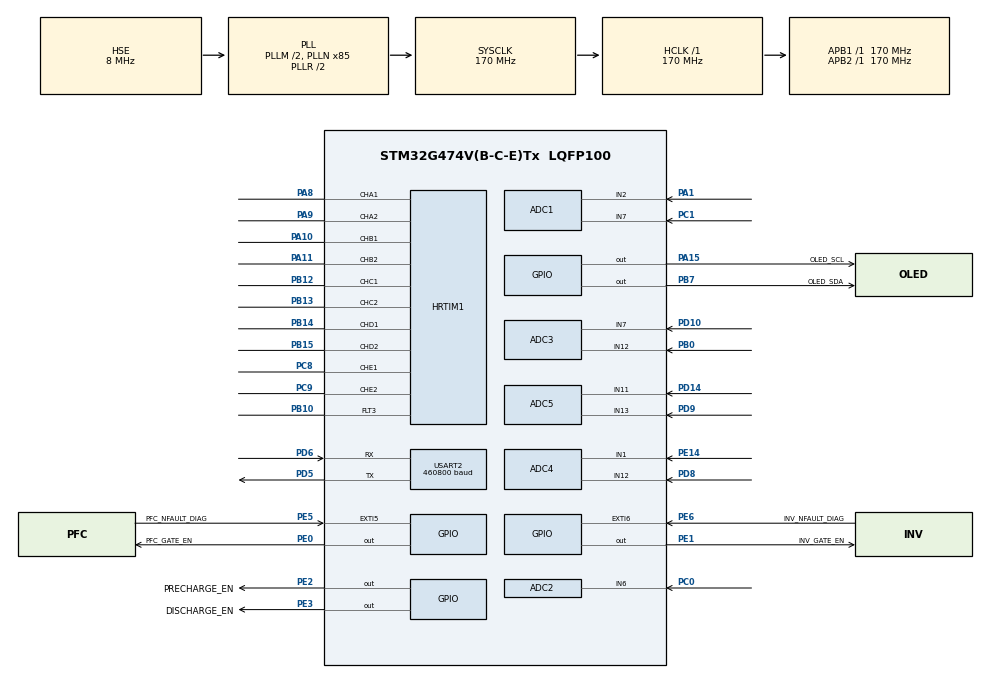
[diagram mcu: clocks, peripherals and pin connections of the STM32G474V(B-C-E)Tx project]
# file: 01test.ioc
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ADC1.Channel-0\#ChannelRegularConversion=ADC_CHANNEL_2
ADC1.Channel-1\#ChannelRegularConversion=ADC_CHANNEL_7
ADC1.ClockPrescaler=ADC_CLOCK_ASYNC_DIV4
ADC1.DMAContinuousRequests=ENABLE
ADC1.EOCSelection=ADC_EOC_SEQ_CONV
ADC1.ExternalTrigConv=ADC_EXTERNALTRIG_HRTIM_TRG1
ADC1.NbrOfConversion=2
ADC1.NbrOfConversionFlag=1
ADC1.OffsetNumber-0\#ChannelRegularConversion=ADC_OFFSET_NONE
ADC1.OffsetNumber-1\#ChannelRegularConversion=ADC_OFFSET_NONE
ADC1.Overrun=ADC_OVR_DATA_OVERWRITTEN
ADC1.Rank-0\#ChannelRegularConversion=1
ADC1.Rank-1\#ChannelRegularConversion=2
ADC1.SamplingTime-0\#ChannelRegularConversion=ADC_SAMPLETIME_24CYCLES_5
ADC1.SamplingTime-1\#ChannelRegularConversion=ADC_SAMPLETIME_24CYCLES_5
ADC1.master=1
ADC2.Channel-0\#ChannelRegularConversion=ADC_CHANNEL_6
ADC2.ClockPrescaler=ADC_CLOCK_ASYNC_DIV4
ADC2.DMAContinuousRequests=ENABLE
ADC2.EOCSelection=ADC_EOC_SEQ_CONV
ADC2.ExternalTrigConv=ADC_EXTERNALTRIG_HRTIM_TRG1
ADC2.NbrOfConversion=1
ADC2.NbrOfConversionFlag=1
ADC2.OffsetNumber-0\#ChannelRegularConversion=ADC_OFFSET_NONE
ADC2.Overrun=ADC_OVR_DATA_OVERWRITTEN
ADC2.Rank-0\#ChannelRegularConversion=1
ADC2.SamplingTime-0\#ChannelRegularConversion=ADC_SAMPLETIME_24CYCLES_5
ADC3.Channel-0\#ChannelRegularConversion=ADC_CHANNEL_12
ADC3.Channel-2\#ChannelRegularConversion=ADC_CHANNEL_7
ADC3.ClockPrescaler=ADC_CLOCK_ASYNC_DIV4
ADC3.DMAContinuousRequests=ENABLE
ADC3.EOCSelection=ADC_EOC_SEQ_CONV
ADC3.ExternalTrigConv=ADC_EXTERNALTRIG_HRTIM_TRG2
ADC3.NbrOfConversion=2
ADC3.NbrOfConversionFlag=1
ADC3.OffsetNumber-2\#ChannelRegularConversion=ADC_OFFSET_NONE
ADC3.Overrun=ADC_OVR_DATA_OVERWRITTEN
ADC3.Rank-2\#ChannelRegularConversion=2
ADC3.SamplingTime-0\#ChannelRegularConversion=ADC_SAMPLETIME_24CYCLES_5
ADC3.SamplingTime-2\#ChannelRegularConversion=ADC_SAMPLETIME_24CYCLES_5
ADC3.master=1
ADC4.Channel-0\#ChannelRegularConversion=ADC_CHANNEL_12
ADC4.Channel-1\#ChannelRegularConversion=ADC_CHANNEL_1
ADC4.ClockPrescaler=ADC_CLOCK_ASYNC_DIV4
ADC4.DMAContinuousRequests=ENABLE
ADC4.EOCSelection=ADC_EOC_SEQ_CONV
ADC4.ExternalTrigConv=ADC_EXTERNALTRIG_HRTIM_TRG2
ADC4.NbrOfConversion=2
ADC4.NbrOfConversionFlag=1
ADC4.OffsetNumber-0\#ChannelRegularConversion=ADC_OFFSET_NONE
ADC4.OffsetNumber-1\#ChannelRegularConversion=ADC_OFFSET_NONE
ADC4.Overrun=ADC_OVR_DATA_OVERWRITTEN
ADC4.Rank-0\#ChannelRegularConversion=1
ADC4.Rank-1\#ChannelRegularConversion=2
ADC4.SamplingTime-0\#ChannelRegularConversion=ADC_SAMPLETIME_24CYCLES_5
ADC4.SamplingTime-1\#ChannelRegularConversion=ADC_SAMPLETIME_24CYCLES_5
ADC5.Channel-0\#ChannelRegularConversion=ADC_CHANNEL_13
ADC5.Channel-1\#ChannelRegularConversion=ADC_CHANNEL_11
ADC5.ClockPrescaler=ADC_CLOCK_ASYNC_DIV4
ADC5.DMAContinuousRequests=ENABLE
ADC5.EOCSelection=ADC_EOC_SEQ_CONV
ADC5.ExternalTrigConv=ADC_EXTERNALTRIG_HRTIM_TRG2
ADC5.NbrOfConversion=2
ADC5.NbrOfConversionFlag=1
ADC5.OffsetNumber-0\#ChannelRegularConversion=ADC_OFFSET_NONE
ADC5.OffsetNumber-1\#ChannelRegularConversion=ADC_OFFSET_NONE
ADC5.Overrun=ADC_OVR_DATA_OVERWRITTEN
ADC5.Rank-0\#ChannelRegularConversion=1
ADC5.Rank-1\#ChannelRegularConversion=2
ADC5.SamplingTime-0\#ChannelRegularConversion=ADC_SAMPLETIME_24CYCLES_5
ADC5.SamplingTime-1\#ChannelRegularConversion=ADC_SAMPLETIME_24CYCLES_5
Dma.ADC1.0.Direction=DMA_PERIPH_TO_MEMORY
Dma.ADC1.0.EventEnable=DISABLE
Dma.ADC1.0.Instance=DMA1_Channel1
Dma.ADC1.0.MemDataAlignment=DMA_MDATAALIGN_HALFWORD
Dma.ADC1.0.MemInc=DMA_MINC_ENABLE
Dma.ADC1.0.Mode=DMA_CIRCULAR
Dma.ADC1.0.PeriphDataAlignment=DMA_PDATAALIGN_HALFWORD
Dma.ADC1.0.PeriphInc=DMA_PINC_DISABLE
Dma.ADC1.0.Polarity=HAL_DMAMUX_REQ_GEN_RISING
Dma.ADC1.0.Priority=DMA_PRIORITY_HIGH
Dma.ADC1.0.RequestNumber=1
Dma.ADC1.0.SignalID=NONE
Dma.ADC1.0.SyncEnable=DISABLE
Dma.ADC1.0.SyncPolarity=HAL_DMAMUX_SYNC_NO_EVENT
Dma.ADC1.0.SyncRequestNumber=1
Dma.ADC1.0.SyncSignalID=NONE
Dma.ADC2.1.Direction=DMA_PERIPH_TO_MEMORY
Dma.ADC2.1.EventEnable=DISABLE
Dma.ADC2.1.Instance=DMA1_Channel2
Dma.ADC2.1.MemDataAlignment=DMA_MDATAALIGN_HALFWORD
Dma.ADC2.1.MemInc=DMA_MINC_ENABLE
Dma.ADC2.1.Mode=DMA_CIRCULAR
Dma.ADC2.1.PeriphDataAlignment=DMA_PDATAALIGN_HALFWORD
Dma.ADC2.1.PeriphInc=DMA_PINC_DISABLE
Dma.ADC2.1.Polarity=HAL_DMAMUX_REQ_GEN_RISING
Dma.ADC2.1.Priority=DMA_PRIORITY_HIGH
Dma.ADC2.1.RequestNumber=1
Dma.ADC2.1.SignalID=NONE
Dma.ADC2.1.SyncEnable=DISABLE
Dma.ADC2.1.SyncPolarity=HAL_DMAMUX_SYNC_NO_EVENT
Dma.ADC2.1.SyncRequestNumber=1
Dma.ADC2.1.SyncSignalID=NONE
Dma.ADC3.4.Direction=DMA_PERIPH_TO_MEMORY
Dma.ADC3.4.EventEnable=DISABLE
Dma.ADC3.4.Instance=DMA2_Channel1
Dma.ADC3.4.MemDataAlignment=DMA_MDATAALIGN_HALFWORD
Dma.ADC3.4.MemInc=DMA_MINC_ENABLE
Dma.ADC3.4.Mode=DMA_CIRCULAR
Dma.ADC3.4.PeriphDataAlignment=DMA_PDATAALIGN_HALFWORD
Dma.ADC3.4.PeriphInc=DMA_PINC_DISABLE
Dma.ADC3.4.Polarity=HAL_DMAMUX_REQ_GEN_RISING
Dma.ADC3.4.Priority=DMA_PRIORITY_HIGH
Dma.ADC3.4.RequestNumber=1
Dma.ADC3.4.SignalID=NONE
Dma.ADC3.4.SyncEnable=DISABLE
Dma.ADC3.4.SyncPolarity=HAL_DMAMUX_SYNC_NO_EVENT
Dma.ADC3.4.SyncRequestNumber=1
Dma.ADC3.4.SyncSignalID=NONE
Dma.ADC4.2.Direction=DMA_PERIPH_TO_MEMORY
Dma.ADC4.2.EventEnable=DISABLE
Dma.ADC4.2.Instance=DMA2_Channel2
Dma.ADC4.2.MemDataAlignment=DMA_MDATAALIGN_HALFWORD
Dma.ADC4.2.MemInc=DMA_MINC_ENABLE
Dma.ADC4.2.Mode=DMA_CIRCULAR
Dma.ADC4.2.PeriphDataAlignment=DMA_PDATAALIGN_HALFWORD
Dma.ADC4.2.PeriphInc=DMA_PINC_DISABLE
Dma.ADC4.2.Polarity=HAL_DMAMUX_REQ_GEN_RISING
Dma.ADC4.2.Priority=DMA_PRIORITY_HIGH
Dma.ADC4.2.RequestNumber=1
Dma.ADC4.2.SignalID=NONE
Dma.ADC4.2.SyncEnable=DISABLE
Dma.ADC4.2.SyncPolarity=HAL_DMAMUX_SYNC_NO_EVENT
Dma.ADC4.2.SyncRequestNumber=1
Dma.ADC4.2.SyncSignalID=NONE
Dma.ADC5.3.Direction=DMA_PERIPH_TO_MEMORY
Dma.ADC5.3.EventEnable=DISABLE
Dma.ADC5.3.Instance=DMA2_Channel3
Dma.ADC5.3.MemDataAlignment=DMA_MDATAALIGN_HALFWORD
Dma.ADC5.3.MemInc=DMA_MINC_ENABLE
Dma.ADC5.3.Mode=DMA_CIRCULAR
Dma.ADC5.3.PeriphDataAlignment=DMA_PDATAALIGN_HALFWORD
Dma.ADC5.3.PeriphInc=DMA_PINC_DISABLE
Dma.ADC5.3.Polarity=HAL_DMAMUX_REQ_GEN_RISING
Dma.ADC5.3.Priority=DMA_PRIORITY_HIGH
Dma.ADC5.3.RequestNumber=1
Dma.ADC5.3.SignalID=NONE
Dma.ADC5.3.SyncEnable=DISABLE
Dma.ADC5.3.SyncPolarity=HAL_DMAMUX_SYNC_NO_EVENT
Dma.ADC5.3.SyncRequestNumber=1
Dma.ADC5.3.SyncSignalID=NONE
Dma.Request0=ADC1
Dma.Request1=ADC2
Dma.Request2=ADC4
Dma.Request3=ADC5
Dma.Request4=ADC3
HRTIM1.ADCTrigger1_Source1=HRTIM_ADCTRIGGEREVENT13_MASTER_CMP2
HRTIM1.ADCTrigger2_Source1=HRTIM_ADCTRIGGEREVENT24_MASTER_CMP2
HRTIM1.ADCTrigger_Id1=HRTIM_ADCTRIGGER_1
HRTIM1.ADCTrigger_Id2=HRTIM_ADCTRIGGER_2
HRTIM1.BlankingSourceFaultLine3=__NULL
HRTIM1.Bmrom_TA=HRTIM_TIM_BMROM_BOTH
HRTIM1.Bmrom_TB=HRTIM_TIM_BMROM_BOTH
HRTIM1.Bmrom_TC=HRTIM_TIM_BMROM_BOTH
HRTIM1.Bmrom_TD=HRTIM_TIM_BMROM_BOTH
HRTIM1.Bmrom_TE=HRTIM_TIM_BMROM_BOTH
HRTIM1.CompareUnit1-MasterTimer=__NULL
HRTIM1.CompareUnit1-Output_TA1TA2=HRTIM_COMPAREUNIT_1
HRTIM1.CompareUnit1-Output_TB1TB2=HRTIM_COMPAREUNIT_1
HRTIM1.CompareUnit1-Output_TC1TC2=HRTIM_COMPAREUNIT_1
HRTIM1.CompareUnit1-Output_TD1TD2=HRTIM_COMPAREUNIT_1
HRTIM1.CompareUnit1-Output_TE1TE2=HRTIM_COMPAREUNIT_1
HRTIM1.CompareUnit2-MasterTimer=HRTIM_COMPAREUNIT_2
HRTIM1.CompareValue1-Output_TA1TA2=17000
HRTIM1.CompareValue1-Output_TB1TB2=17000
HRTIM1.CompareValue1-Output_TC1TC2=17000
HRTIM1.CompareValue1-Output_TD1TD2=17000
HRTIM1.CompareValue1-Output_TE1TE2=17000
HRTIM1.CompareValue2-MasterTimer=17000
HRTIM1.DeadTimeInsertion-Output_TA1TA2=HRTIM_TIMDEADTIMEINSERTION_ENABLED
HRTIM1.DeadTimeInsertion-Output_TB1TB2=HRTIM_TIMDEADTIMEINSERTION_ENABLED
HRTIM1.DeadTimeInsertion-Output_TC1TC2=HRTIM_TIMDEADTIMEINSERTION_ENABLED
HRTIM1.DeadTimeInsertion-Output_TD1TD2=HRTIM_TIMDEADTIMEINSERTION_ENABLED
HRTIM1.DeadTimeInsertion-Output_TE1TE2=HRTIM_TIMDEADTIMEINSERTION_ENABLED
HRTIM1.FallingValue-Output_TA1TA2=85
HRTIM1.FallingValue-Output_TB1TB2=85
HRTIM1.FallingValue-Output_TC1TC2=85
HRTIM1.FallingValue-Output_TD1TD2=85
HRTIM1.FallingValue-Output_TE1TE2=85
HRTIM1.FaultEnable_Source1-Output_TA1TA2=HRTIM_TIMFAULTENABLE_FAULT3
HRTIM1.FaultEnable_Source1-Output_TB1TB2=HRTIM_TIMFAULTENABLE_FAULT3
HRTIM1.FaultEnable_Source1-Output_TC1TC2=HRTIM_TIMFAULTENABLE_FAULT3
HRTIM1.FaultEnable_Source1-Output_TD1TD2=HRTIM_TIMFAULTENABLE_FAULT3
HRTIM1.FaultEnable_Source1-Output_TE1TE2=HRTIM_TIMFAULTENABLE_FAULT3
HRTIM1.FaultLevel1-Output_TA1TA2=HRTIM_OUTPUTFAULTLEVEL_INACTIVE
HRTIM1.FaultLevel1-Output_TB1TB2=HRTIM_OUTPUTFAULTLEVEL_INACTIVE
HRTIM1.FaultLevel1-Output_TC1TC2=HRTIM_OUTPUTFAULTLEVEL_INACTIVE
HRTIM1.FaultLevel1-Output_TD1TD2=HRTIM_OUTPUTFAULTLEVEL_INACTIVE
HRTIM1.FaultLevel1-Output_TE1TE2=HRTIM_OUTPUTFAULTLEVEL_INACTIVE
HRTIM1.FaultLevel2-Output_TA1TA2=HRTIM_OUTPUTFAULTLEVEL_INACTIVE
HRTIM1.FaultLevel2-Output_TB1TB2=HRTIM_OUTPUTFAULTLEVEL_INACTIVE
HRTIM1.FaultLevel2-Output_TC1TC2=HRTIM_OUTPUTFAULTLEVEL_INACTIVE
HRTIM1.FaultLevel2-Output_TD1TD2=HRTIM_OUTPUTFAULTLEVEL_INACTIVE
HRTIM1.FaultLevel2-Output_TE1TE2=HRTIM_OUTPUTFAULTLEVEL_INACTIVE
HRTIM1.Fault_Line3=HRTIM_FAULT_3
HRTIM1.Ferom_TA=HRTIM_TIM_FEROM_BOTH
HRTIM1.Ferom_TB=HRTIM_TIM_FEROM_BOTH
HRTIM1.Ferom_TC=HRTIM_TIM_FEROM_BOTH
HRTIM1.Ferom_TD=HRTIM_TIM_FEROM_BOTH
HRTIM1.Ferom_TE=HRTIM_TIM_FEROM_BOTH
HRTIM1.HRTIMInterruptResquests1=HRTIM_IT_FLT3
HRTIM1.NumberADCTriggerSource1=1
HRTIM1.NumberADCTriggerSource2=1
HRTIM1.NumberFaultEnable-Output_TA1TA2=1
HRTIM1.NumberFaultEnable-Output_TB1TB2=1
HRTIM1.NumberFaultEnable-Output_TC1TC2=1
HRTIM1.NumberFaultEnable-Output_TD1TD2=1
HRTIM1.NumberFaultEnable-Output_TE1TE2=1
HRTIM1.NumberResetSource1-Output_TA1TA2=1
HRTIM1.NumberResetSource1-Output_TB1TB2=1
HRTIM1.NumberResetSource1-Output_TC1TC2=1
HRTIM1.NumberResetSource1-Output_TD1TD2=1
HRTIM1.NumberResetSource1-Output_TE1TE2=1
HRTIM1.NumberSetSource1-Output_TA1TA2=1
HRTIM1.NumberSetSource1-Output_TB1TB2=1
HRTIM1.NumberSetSource1-Output_TC1TC2=1
HRTIM1.NumberSetSource1-Output_TD1TD2=1
HRTIM1.NumberSetSource1-Output_TE1TE2=1
HRTIM1.NumberUpdateTrigger-Output_TA1TA2=0
HRTIM1.Outrom_TA=HRTIM_TIM_OUTROM_VALLEY
HRTIM1.Outrom_TB=HRTIM_TIM_OUTROM_VALLEY
HRTIM1.Outrom_TC=HRTIM_TIM_OUTROM_VALLEY
HRTIM1.Outrom_TD=HRTIM_TIM_OUTROM_VALLEY
HRTIM1.Outrom_TE=HRTIM_TIM_OUTROM_VALLEY
HRTIM1.Periode_MASTER=34000
HRTIM1.Periode_TA=34000
HRTIM1.Periode_TB=34000
HRTIM1.Periode_TC=34000
HRTIM1.Periode_TD=34000
HRTIM1.Periode_TE=34000
HRTIM1.Polarity_FaultLine3=HRTIM_FAULTPOLARITY_LOW
HRTIM1.PreloadEnable-Output_TA1TA2=HRTIM_PRELOAD_ENABLED
HRTIM1.PreloadEnable-Output_TB1TB2=HRTIM_PRELOAD_ENABLED
HRTIM1.PreloadEnable-Output_TC1TC2=HRTIM_PRELOAD_ENABLED
HRTIM1.PreloadEnable-Output_TD1TD2=HRTIM_PRELOAD_ENABLED
HRTIM1.PreloadEnable-Output_TE1TE2=HRTIM_PRELOAD_ENABLED
HRTIM1.PrescalerDead-Output_TA1TA2=HRTIM_TIMDEADTIME_PRESCALERRATIO_DIV1
HRTIM1.PrescalerDead-Output_TB1TB2=HRTIM_TIMDEADTIME_PRESCALERRATIO_DIV1
HRTIM1.PrescalerDead-Output_TC1TC2=HRTIM_TIMDEADTIME_PRESCALERRATIO_DIV1
HRTIM1.PrescalerDead-Output_TD1TD2=HRTIM_TIMDEADTIME_PRESCALERRATIO_DIV1
HRTIM1.PrescalerDead-Output_TE1TE2=HRTIM_TIMDEADTIME_PRESCALERRATIO_DIV1
HRTIM1.PrescalerRatio_MASTER=HRTIM_PRESCALERRATIO_MUL2
HRTIM1.PrescalerRatio_TA=HRTIM_PRESCALERRATIO_MUL4
HRTIM1.PrescalerRatio_TB=HRTIM_PRESCALERRATIO_MUL4
HRTIM1.PrescalerRatio_TC=HRTIM_PRESCALERRATIO_MUL4
HRTIM1.PrescalerRatio_TD=HRTIM_PRESCALERRATIO_MUL4
HRTIM1.PrescalerRatio_TE=HRTIM_PRESCALERRATIO_MUL4
HRTIM1.RepetitionCounter-MasterTimer=0
HRTIM1.RepetitionCounter-Output_TA1TA2=0
HRTIM1.RepetitionCounter-Output_TB1TB2=0
HRTIM1.RepetitionCounter-Output_TC1TC2=0
HRTIM1.RepetitionCounter-Output_TD1TD2=0
HRTIM1.RepetitionCounter-Output_TE1TE2=0
HRTIM1.RepetitionUpdate-Output_TA1TA2=HRTIM_UPDATEONREPETITION_ENABLED
HRTIM1.RepetitionUpdate-Output_TB1TB2=HRTIM_UPDATEONREPETITION_ENABLED
HRTIM1.RepetitionUpdate-Output_TC1TC2=HRTIM_UPDATEONREPETITION_ENABLED
HRTIM1.RepetitionUpdate-Output_TD1TD2=HRTIM_UPDATEONREPETITION_ENABLED
HRTIM1.RepetitionUpdate-Output_TE1TE2=HRTIM_UPDATEONREPETITION_ENABLED
HRTIM1.ResetOutput1_Source1-Output_TA1TA2=HRTIM_OUTPUTRESET_TIMCMP1
HRTIM1.ResetOutput1_Source1-Output_TB1TB2=HRTIM_OUTPUTRESET_TIMCMP1
HRTIM1.ResetOutput1_Source1-Output_TC1TC2=HRTIM_OUTPUTRESET_TIMCMP1
HRTIM1.ResetOutput1_Source1-Output_TD1TD2=HRTIM_OUTPUTRESET_TIMCMP1
HRTIM1.ResetOutput1_Source1-Output_TE1TE2=HRTIM_OUTPUTRESET_TIMCMP1
HRTIM1.RisingValue-Output_TA1TA2=85
HRTIM1.RisingValue-Output_TB1TB2=85
HRTIM1.RisingValue-Output_TC1TC2=85
HRTIM1.RisingValue-Output_TD1TD2=85
HRTIM1.RisingValue-Output_TE1TE2=85
HRTIM1.SetOutput1_Source1-Output_TA1TA2=HRTIM_OUTPUTSET_TIMCMP1
HRTIM1.SetOutput1_Source1-Output_TB1TB2=HRTIM_OUTPUTSET_TIMCMP1
HRTIM1.SetOutput1_Source1-Output_TC1TC2=HRTIM_OUTPUTSET_TIMCMP1
HRTIM1.SetOutput1_Source1-Output_TD1TD2=HRTIM_OUTPUTSET_TIMCMP1
HRTIM1.SetOutput1_Source1-Output_TE1TE2=HRTIM_OUTPUTSET_TIMCMP1
HRTIM1.UpDownMode-Output_TA1TA2=HRTIM_TIMERUPDOWNMODE_UPDOWN
HRTIM1.UpDownMode-Output_TB1TB2=HRTIM_TIMERUPDOWNMODE_UPDOWN
HRTIM1.UpDownMode-Output_TC1TC2=HRTIM_TIMERUPDOWNMODE_UPDOWN
HRTIM1.UpDownMode-Output_TD1TD2=HRTIM_TIMERUPDOWNMODE_UPDOWN
HRTIM1.UpDownMode-Output_TE1TE2=HRTIM_TIMERUPDOWNMODE_UPDOWN
HRTIM1.postscaler1=0
HRTIM1.postscaler2=0
HRTIM1.rom_TA=HRTIM_TIM_ROM_VALLEY
HRTIM1.rom_TB=HRTIM_TIM_ROM_VALLEY
HRTIM1.rom_TC=HRTIM_TIM_ROM_VALLEY
HRTIM1.rom_TD=HRTIM_TIM_ROM_VALLEY
HRTIM1.rom_TE=HRTIM_TIM_ROM_VALLEY
IWDG.Prescaler=IWDG_PRESCALER_64
IWDG.Reload=249
Mcu.Family=STM32G4
Mcu.Name=STM32G474V(B-C-E)Tx
Mcu.Package=LQFP100
NVIC.ADC1_2_IRQn=true\:1\:0\:true\:false\:true\:true\:true\:true
NVIC.ADC3_IRQn=true\:1\:0\:true\:false\:true\:true\:true\:true
NVIC.ADC4_IRQn=true\:1\:0\:true\:false\:true\:true\:true\:true
NVIC.ADC5_IRQn=true\:1\:0\:true\:false\:true\:true\:true\:true
NVIC.DMA1_Channel1_IRQn=true\:2\:0\:true\:false\:true\:false\:true\:true
NVIC.DMA1_Channel2_IRQn=true\:1\:0\:true\:false\:true\:false\:true\:true
NVIC.DMA2_Channel1_IRQn=true\:1\:0\:true\:false\:true\:false\:true\:true
NVIC.DMA2_Channel2_IRQn=true\:1\:0\:true\:false\:true\:false\:true\:true
NVIC.DMA2_Channel3_IRQn=true\:1\:0\:true\:false\:true\:false\:true\:true
NVIC.EXTI9_5_IRQn=true\:3\:0\:true\:false\:true\:true\:true\:true
NVIC.HRTIM1_FLT_IRQn=true\:0\:0\:false\:false\:true\:true\:true\:true
NVIC.PriorityGroup=NVIC_PRIORITYGROUP_4
PA1.Mode=IN2-Single-Ended
PA1.Signal=ADC1_IN2
PA10.Mode=Output_TB1TB2
PA10.Signal=HRTIM1_CHB1
PA11.Mode=Output_TB1TB2
PA11.Signal=HRTIM1_CHB2
PA13.Mode=Serial_Wire
PA13.Signal=SYS_JTMS-SWDIO
PA14.Mode=Serial_Wire
PA14.Signal=SYS_JTCK-SWCLK
PA15.GPIO_Label=OLED_SCL
PA15.GPIO_ModeDefaultOutputPP=GPIO_MODE_OUTPUT_PP
PA15.GPIO_PuPd=GPIO_NOPULL
PA15.GPIO_Speed=GPIO_SPEED_FREQ_HIGH
PA15.Signal=GPIO_Output
PA8.Mode=Output_TA1TA2
PA8.Signal=HRTIM1_CHA1
PA9.Mode=Output_TA1TA2
PA9.Signal=HRTIM1_CHA2
PB0.Mode=IN12-Single-Ended
PB0.Signal=ADC3_IN12
PB10.GPIO_PuPd=GPIO_PULLUP
PB10.Mode=Fault_Enable3
PB10.Signal=HRTIM1_FLT3
PB12.Mode=Output_TC1TC2
PB12.Signal=HRTIM1_CHC1
PB13.Mode=Output_TC1TC2
PB13.Signal=HRTIM1_CHC2
PB14.Mode=Output_TD1TD2
PB14.Signal=HRTIM1_CHD1
PB15.Mode=Output_TD1TD2
PB15.Signal=HRTIM1_CHD2
PB7.GPIO_Label=OLED_SDA
PB7.GPIO_ModeDefaultOutputPP=GPIO_MODE_OUTPUT_OD
PB7.GPIO_PuPd=GPIO_NOPULL
PB7.GPIO_Speed=GPIO_SPEED_FREQ_HIGH
PB7.Signal=GPIO_Output
PC0.Mode=IN6-Single-Ended
PC0.Signal=ADC2_IN6
PC1.Mode=IN7-Single-Ended
PC1.Signal=ADC1_IN7
PC8.Mode=Output_TE1TE2
PC8.Signal=HRTIM1_CHE1
PC9.Mode=Output_TE1TE2
PC9.Signal=HRTIM1_CHE2
PD10.Mode=IN7-Single-Ended
PD10.Signal=ADC3_IN7
PD14.Mode=IN11-Single-Ended
PD14.Signal=ADC5_IN11
PD5.Mode=Asynchronous
PD5.Signal=USART2_TX
PD6.Mode=Asynchronous
PD6.Signal=USART2_RX
PD8.Mode=IN12-Single-Ended
PD8.Signal=ADC4_IN12
PD9.Mode=IN13-Single-Ended
PD9.Signal=ADC5_IN13
PE0.GPIO_Label=PFC_GATE_EN
PE0.GPIO_PuPd=GPIO_NOPULL
PE0.Signal=GPIO_Output
PE1.GPIO_Label=INV_GATE_EN
PE1.Signal=GPIO_Output
PE14.Mode=IN1-Single-Ended
PE14.Signal=ADC4_IN1
PE2.GPIO_Label=PRECHARGE_EN
PE2.Signal=GPIO_Output
PE3.GPIO_Label=DISCHARGE_EN
PE3.Signal=GPIO_Output
PE5.GPIO_Label=PFC_NFAULT_DIAG
PE5.GPIO_ModeDefaultEXTI=GPIO_MODE_IT_FALLING
PE5.GPIO_PuPd=GPIO_PULLUP
PE5.Signal=GPXTI5
PE6.GPIO_Label=INV_NFAULT_DIAG
PE6.GPIO_ModeDefaultEXTI=GPIO_MODE_IT_FALLING
PE6.GPIO_PuPd=GPIO_PULLUP
PE6.Signal=GPXTI6
PF0-OSC_IN.Mode=HSE-External-Oscillator
PF0-OSC_IN.Signal=RCC_OSC_IN
PF1-OSC_OUT.Mode=HSE-External-Oscillator
PF1-OSC_OUT.Signal=RCC_OSC_OUT
ProjectManager.HeapSize=0x200
ProjectManager.StackSize=0x400
ProjectManager.TargetToolchain=MDK-ARM V5.32
RCC.ADC12Freq_Value=170000000
RCC.ADC345Freq_Value=170000000
RCC.AHBFreq_Value=170000000
RCC.APB1Freq_Value=170000000
RCC.APB1TimFreq_Value=170000000
RCC.APB2Freq_Value=170000000
RCC.APB2TimFreq_Value=170000000
RCC.CortexFreq_Value=170000000
RCC.EXTERNAL_CLOCK_VALUE=12288000
RCC.EnbaleCSS=true
RCC.HCLKFreq_Value=170000000
RCC.HSE_VALUE=8000000
RCC.HSI48_VALUE=48000000
RCC.HSI_VALUE=16000000
RCC.LSE_VALUE=32768
RCC.PLLM=RCC_PLLM_DIV2
RCC.PLLN=85
RCC.PLLSourceVirtual=RCC_PLLSOURCE_HSE
RCC.SYSCLKFreq_VALUE=170000000
RCC.SYSCLKSource=RCC_SYSCLKSOURCE_PLLCLK
RCC.USBFreq_Value=170000000
RCC.VCOOutputFreq_Value=340000000
USART2.BaudRate=460800
USART2.VirtualMode-Asynchronous=VM_ASYNC
VP_HRTIM1_VS_hrtimMasterTimerNoOutput.Mode=MasterTimer
VP_IWDG_VS_IWDG.Mode=IWDG_Activate
VP_SYS_VS_DBSignals.Mode=DisableDeadBatterySignals
board=custom

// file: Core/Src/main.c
/* USER CODE BEGIN Header */
/**
  ******************************************************************************
  * @file           : main.c
  * @brief          : Main program body
  ******************************************************************************
  * @attention
  *
  * Copyright (c) 2026 STMicroelectronics.
  * All rights reserved.
  *
  * This software is licensed under terms that can be found in the LICENSE file
  * in the root directory of this software component.
  * If no LICENSE file comes with this software, it is provided AS-IS.
  *
  ******************************************************************************
  */
/* USER CODE END Header */
#include "main.h"
#include "adc.h"
#include "dma.h"
#include "hrtim.h"
#include "usart.h"
#include "gpio.h"

/* USER CODE BEGIN Includes */
#include "OLED.h"
#include "CBSVPWM.h"
#include "inv_hrtim.h"
#include "inv_measure.h"
#include "iwdg.h"
#include "vofa.h"
/* USER CODE END Includes */

/* USER CODE BEGIN PD */

/*
 * 本文件只进行MCU侧开环逆变验证，不使能实际门极驱动器。
 * 10 kHz控制频率除以50 Hz基波频率得到每个基波周期200个控制点。
 *
 *虚拟母线电压：48 V
 *初始调制度：0.10
 *最大调制度：0.90
 *控制更新频率：10 kHz
 *正弦周期点数：200
 *输出基波频率：50 Hz
 *后台监督频率：10 Hz
 *VOFA发送频率：100 Hz
 *
 */
#define INV_TEST_VIRTUAL_DC_V          (48.0f)
#define INV_TEST_MODULATION            (0.10f)
#define INV_TEST_MODULATION_LIMIT      (0.90f)
#define INV_TEST_MINIMUM_DC_V          (1.0f)
#define INV_TEST_POINTS_PER_CYCLE      (200U)
#define INV_TEST_OFFSET_TIMEOUT_MS     (200U)
#define INV_TEST_SUPERVISOR_PERIOD_MS  (100U)
#define INV_TEST_VOFA_PERIOD_MS        (10U)
#define INV_TEST_OLED_PERIOD_MS        (100U)

/* 旋转角增量Δθ为2*pi/200；预先写入常量，避免在10 kHz中断中调用三角函数。 */
#define INV_TEST_SIN_DELTA             (0.0314107591f) //旋转角增量正弦: sin(1.8°)
#define INV_TEST_COS_DELTA             (0.9995065604f) //旋转角增量余弦: cos(1.8°)
#define INV_TEST_SQRT3_DIV2            (0.8660254038f) //√3 / 2

/* USER CODE END PD */

/* USER CODE BEGIN PV */

/*
 * VOFA发送数组与VOFA+通道顺序一一对应，固定为8通道：
 * U相单位正弦、六路逆变ADC原始值和故障位。
 */
static float vofa_data[VOFA_MAX_CHANNELS] = {0.0f};

/* 供Keil Watch观察串口HAL调用结果；通信失败不触发功率故障。 */
static uint32_t vofa_tx_ok_count = 0U;
static uint32_t vofa_tx_error_count = 0U;

/* CBSVPWM运行对象公开保留中间量，便于在Keil Watch中核对零序注入。 */
static CBSVPWM_t inv_svpwm;

/*
 * 正弦递推状态只在ADC DMA中断中更新。U相参考同时被主循环读取并发送VOFA，
 * 因而声明为volatile，避免编译器把主循环中的读取优化为不再更新的旧值。
 */
static float inv_sine_state = 0.0f;
static float inv_cosine_state = 1.0f;
static volatile float inv_sine_u = 0.0f;
static uint16_t inv_phase_index = 0U;
static volatile uint32_t inv_control_heartbeat = 0U;
static uint32_t inv_last_control_frame = 0U;

/* USER CODE END PV */

void SystemClock_Config(void);
/* USER CODE BEGIN PFP */

static void INV_TestOpenLoopStep(void);
static HAL_StatusTypeDef INV_TestWaitForOffset(void);
static HAL_StatusTypeDef INV_TestStartMcuOutputs(void);

/* USER CODE END PFP */

/* USER CODE BEGIN 0 */

/* 无功率开环试波使用的六路HRTIM输出；PE1在整个测试过程中保持低电平。 */
#define INV_TEST_HRTIM_OUTPUTS (HRTIM_OUTPUT_TC1 | HRTIM_OUTPUT_TC2 | \
                                HRTIM_OUTPUT_TD1 | HRTIM_OUTPUT_TD2 | \
                                HRTIM_OUTPUT_TE1 | HRTIM_OUTPUT_TE2)

/**
 * @brief 等待ADC3/4/5完成零点标定并形成有效的六通道快照。
 * @retval HAL_OK表示三路DMA同步运行且标定完成；超时或故障返回HAL_ERROR。
 *
 * 此时Master和Timer C/D/E只负责产生HRTIM Trigger 2，六路PWM输出及PE1
 * 均保持关闭。等待上限200 ms，正常情况下256帧在约25.6 ms内即可完成。
 */
static HAL_StatusTypeDef INV_TestWaitForOffset(void)
{
  uint32_t start_tick = HAL_GetTick();
  INV_Measurement measurement;

  while ((HAL_GetTick() - start_tick) < INV_TEST_OFFSET_TIMEOUT_MS)
  {
    INV_Measure_GetSnapshot(&measurement);

    if (measurement.fault_bits != INV_FAULT_NONE)
    {
      return HAL_ERROR;
    }

    if ((measurement.offset_ready != 0U) && (measurement.valid != 0U))
    {
      return HAL_OK;
    }
  }

  INV_Measure_Trip(INV_FAULT_ADC_SYNC);
  return HAL_TIMEOUT;
}

/**
 * @brief 仅开放MCU的C/D/E六路HRTIM引脚，不使能外部门极驱动器。
 * @retval HAL_OK表示六路输出已启动；Fault或GPIO状态异常返回HAL_ERROR。
 *
 * PB10在IOC中没有用户标签，因此这里按已确认的HRTIM1_FLT3引脚直接读取。
 * PE6是逆变驱动器诊断输入。二者均为低有效，任何一路为低都禁止试波。
 */
static HAL_StatusTypeDef INV_TestStartMcuOutputs(void)
{
  HAL_GPIO_WritePin(PFC_GATE_EN_GPIO_Port, PFC_GATE_EN_Pin, GPIO_PIN_RESET);
  HAL_GPIO_WritePin(INV_GATE_EN_GPIO_Port, INV_GATE_EN_Pin, GPIO_PIN_RESET);

  if ((HAL_GPIO_ReadPin(GPIOB, GPIO_PIN_10) == GPIO_PIN_RESET) ||
      (HAL_GPIO_ReadPin(INV_NFAULT_DIAG_GPIO_Port,
                       INV_NFAULT_DIAG_Pin) == GPIO_PIN_RESET) ||
      (__HAL_HRTIM_GET_FLAG(&hhrtim1, HRTIM_FLAG_FLT3) != RESET))
  {
    return HAL_ERROR;
  }

  /* 三相先写入50%中性占空比，再统一开放输出，避免启动瞬间出现旧比较值。 */
  if (INV_HRTIM_SetDuty(0.5f, 0.5f, 0.5f) != HAL_OK)
  {
    return HAL_ERROR;
  }

  if (HAL_HRTIM_WaveformOutputStart(&hhrtim1,
                                    INV_TEST_HRTIM_OUTPUTS) != HAL_OK)
  {
    return HAL_ERROR;
  }

  /* 输出启动后再次强制PE1为低，明确本阶段只测MCU引脚而不驱动功率管。 */
  HAL_GPIO_WritePin(INV_GATE_EN_GPIO_Port, INV_GATE_EN_Pin, GPIO_PIN_RESET);
  return HAL_OK;
}

/**
 * @brief 在一个新的六通道ADC同步帧到达后执行一次50 Hz开环CBSVPWM更新。
 *
 * 本函数运行于DMA中断上下文，不调用阻塞HAL函数。三相参考由一个单位正弦
 * 和单位余弦推导，U/V/W依次相差120度；递推每200点强制复位一次，防止
 * 单精度乘加误差长期累积。固定虚拟母线只用于CBSVPWM归一化，不代表板上
 * 实际母线已经建立，也不能作为后续带功率运行的母线保护依据。
 */
static void INV_TestOpenLoopStep(void)
{
  float sine_u;
  float sine_v;
  float sine_w;
  float voltage_amplitude;
  float next_sine;
  float next_cosine;

  if (INV_Measure_GetFault() != INV_FAULT_NONE)
  {
    return;
  }

  sine_u = inv_sine_state;
  sine_v = (-0.5f * inv_sine_state) -
           (INV_TEST_SQRT3_DIV2 * inv_cosine_state);
  sine_w = (-0.5f * inv_sine_state) +
           (INV_TEST_SQRT3_DIV2 * inv_cosine_state);
  inv_sine_u = sine_u;

  /* 相电压指令峰值对应Vdc/2乘调制度；初始10%便于观察低幅包络。 */
  voltage_amplitude = 0.5f * INV_TEST_VIRTUAL_DC_V * INV_TEST_MODULATION;

  if (CBSVPWM_Calc3Leg(&inv_svpwm,
                       voltage_amplitude * sine_u,
                       voltage_amplitude * sine_v,
                       voltage_amplitude * sine_w,
                       INV_TEST_VIRTUAL_DC_V) == 0U)
  {
    INV_Measure_Trip(INV_FAULT_CBSVPWM);
    return;
  }

  if (INV_HRTIM_SetDuty(inv_svpwm.duty_u,
                        inv_svpwm.duty_v,
                        inv_svpwm.duty_w) != HAL_OK)
  {
    INV_Measure_Trip(INV_FAULT_PWM_COMMAND);
    return;
  }

  inv_control_heartbeat++;
  inv_phase_index++;

  if (inv_phase_index >= INV_TEST_POINTS_PER_CYCLE)
  {
    /* 一个50 Hz周期结束后回到精确初值，避免旋转递推的幅值和相位漂移。 */
    inv_phase_index = 0U;
    inv_sine_state = 0.0f;
    inv_cosine_state = 1.0f;
  }
  else
  {
    next_sine = (inv_sine_state * INV_TEST_COS_DELTA) +
                (inv_cosine_state * INV_TEST_SIN_DELTA);
    next_cosine = (inv_cosine_state * INV_TEST_COS_DELTA) -
                  (inv_sine_state * INV_TEST_SIN_DELTA);
    inv_sine_state = next_sine;
    inv_cosine_state = next_cosine;
  }
}

/* USER CODE END 0 */

int main(void)
{

  /* MCU Configuration--------------------------------------------------------*/

  /* Reset of all peripherals, Initializes the Flash interface and the Systick. */
  HAL_Init();

  /* Configure the system clock */
  SystemClock_Config();

  /* Initialize all configured peripherals */
  MX_GPIO_Init();
  MX_DMA_Init();
  MX_HRTIM1_Init();
  MX_ADC1_Init();
  MX_ADC2_Init();
  MX_USART2_UART_Init();
  MX_ADC3_Init();
  MX_ADC4_Init();
  MX_ADC5_Init();
  /* USER CODE BEGIN 2 */

  /*
   * 本阶段仅测试逆变相关外设。两个Gate Enable和预充/放电控制均保持低，
   * 即使随后开放HRTIM的MCU引脚，外部门极驱动器也不会被软件使能。
   */
  HAL_GPIO_WritePin(PFC_GATE_EN_GPIO_Port, PFC_GATE_EN_Pin, GPIO_PIN_RESET);
  HAL_GPIO_WritePin(INV_GATE_EN_GPIO_Port, INV_GATE_EN_Pin, GPIO_PIN_RESET);
  HAL_GPIO_WritePin(PRECHARGE_EN_GPIO_Port, PRECHARGE_EN_Pin, GPIO_PIN_RESET);
  HAL_GPIO_WritePin(DISCHARGE_EN_GPIO_Port, DISCHARGE_EN_Pin, GPIO_PIN_RESET);

  /*
   * 上电后只在初始化阶段等待一次，使OLED内部电源和电荷泵稳定。
   * 禁止把HAL_Delay()放入主循环或ADC DMA回调，否则会破坏后台调度
   * 或10 kHz开环控制节拍。等待期间四个安全控制输出仍保持低电平。
   */
  HAL_Delay(100U);
  OLED_Init();

  /*
   * 固定标签只写一次，主循环后续只更新数字区域，避免整屏清除造成闪烁：
   * IU/IV/IW为三相电流ADC原始码，VU/VV/VW为三相电压ADC原始码；
   * S为10 kHz控制心跳，F为INV_FaultMask锁存故障位的十六进制值。
   */
  OLED_ShowString(1U, 1U, "IU:");
  OLED_ShowString(1U, 9U, "VU:");
  OLED_ShowString(2U, 1U, "IV:");
  OLED_ShowString(2U, 9U, "VV:");
  OLED_ShowString(3U, 1U, "IW:");
  OLED_ShowString(3U, 9U, "VW:");
  OLED_ShowString(4U, 1U, "S:");
  OLED_ShowString(4U, 9U, "F:");

  /* 清空逆变测量、DMA同步序列、零点累加器和历史故障。 */
  INV_Measure_Init();

  /*
   * 初始化三桥臂CBSVPWM。48 V是本次算法试波使用的虚拟母线参数，
   * 不启动ADC1/2，也不代表板上已经存在48 V实际母线。
   */
  if (CBSVPWM_Init(&inv_svpwm,
                   INV_TEST_MODULATION_LIMIT,
                   INV_TEST_MINIMUM_DC_V) == 0U)
  {
    INV_Measure_Trip(INV_FAULT_CBSVPWM);
    Error_Handler();
  }

  /* ADC校准必须在规则组DMA和HRTIM Trigger 2启动之前完成。 */
  if (HAL_ADCEx_Calibration_Start(&hadc5, ADC_SINGLE_ENDED) != HAL_OK)
  {
    INV_Measure_Trip(INV_FAULT_ADC_ERROR);
    Error_Handler();
  }

  if (HAL_ADCEx_Calibration_Start(&hadc4, ADC_SINGLE_ENDED) != HAL_OK)
  {
    INV_Measure_Trip(INV_FAULT_ADC_ERROR);
    Error_Handler();
  }

  if (HAL_ADCEx_Calibration_Start(&hadc3, ADC_SINGLE_ENDED) != HAL_OK)
  {
    INV_Measure_Trip(INV_FAULT_ADC_ERROR);
    Error_Handler();
  }

  /*
   * 三个ADC均包含两个规则Rank，DMA长度必须固定为2。先启动ADC5、ADC4，
   * 最后启动ADC3，使三路ADC在Master尚未运行时全部进入等待Trigger 2状态。
   */
  if (HAL_ADC_Start_DMA(&hadc5, (uint32_t *)INV_Adc5Dma, 2U) != HAL_OK)
  {
    INV_Measure_Trip(INV_FAULT_ADC_ERROR);
    Error_Handler();
  }

  if (HAL_ADC_Start_DMA(&hadc4, (uint32_t *)INV_Adc4Dma, 2U) != HAL_OK)
  {
    INV_Measure_Trip(INV_FAULT_ADC_ERROR);
    Error_Handler();
  }

  if (HAL_ADC_Start_DMA(&hadc3, (uint32_t *)INV_Adc3Dma, 2U) != HAL_OK)
  {
    INV_Measure_Trip(INV_FAULT_ADC_ERROR);
    Error_Handler();
  }

  /*
   * 循环DMA默认同时产生Half Transfer和Transfer Complete中断。本测试只在
   * 两个Rank全部搬运完成后处理样本，因此关闭HT，防止读取半更新缓冲区。
   */
  __HAL_DMA_DISABLE_IT(hadc5.DMA_Handle, DMA_IT_HT);
  __HAL_DMA_DISABLE_IT(hadc4.DMA_Handle, DMA_IT_HT);
  __HAL_DMA_DISABLE_IT(hadc3.DMA_Handle, DMA_IT_HT);

  /*
   * 启动Master与Timer C/D/E计数器，Master CMP2通过HRTIM Trigger 2
   * 以10 kHz触发ADC3/4/5；该函数不会开放六路PWM或拉高PE1。
   */
  if (INV_HRTIM_StartSampling() != HAL_OK)
  {
    INV_Measure_Trip(INV_FAULT_HRTIM);
    Error_Handler();
  }

  /*
   * 先等待ADC零点和同步链路通过，再开放MCU侧HRTIM引脚。标定期间必须
   * 保证电流、电压采样前端处于真实零输入，否则所得偏置不能用于后续测试。
   */
  if (INV_TestWaitForOffset() != HAL_OK)
  {
    Error_Handler();
  }

  if (INV_TestStartMcuOutputs() != HAL_OK)
  {
    INV_Measure_Trip(INV_FAULT_HRTIM);
    Error_Handler();
  }

  /*
   * IWDG最后启动。之后只有ADC3/4/5序列、控制心跳、Fault和安全GPIO
   * 全部健康时才刷新；任何监督异常都保留故障并等待看门狗复位。
   */
  MX_IWDG_Init();

  /* USER CODE END 2 */

  /* Infinite loop */
  /* USER CODE BEGIN WHILE */

  /* VOFA以10 ms为发送周期，即每秒发送约100帧。 */
  uint32_t vofa_tick = HAL_GetTick();

  /* OLED属于100 ms低速后台任务，不参与ADC、HRTIM或故障中断。 */
  uint32_t oled_tick = HAL_GetTick();

  /* 保存上次监督快照，用于判断三路DMA和10 kHz控制是否持续推进。 */
  uint32_t supervisor_tick = HAL_GetTick();
  uint32_t last_adc3_sequence = 0U;
  uint32_t last_adc4_sequence = 0U;
  uint32_t last_adc5_sequence = 0U;
  uint32_t last_fast_heartbeat = 0U;
  uint32_t last_control_heartbeat = 0U;
  while (1)
  {
    /* USER CODE END WHILE */

    /* USER CODE BEGIN 3 */

    /*
     * 每10 ms发送一次VOFA数据。阻塞式USART只允许位于主循环，禁止放入
     * 10 kHz DMA回调，否则约0.78 ms的串口发送会破坏实时控制节拍。
     */
    if ((HAL_GetTick() - vofa_tick) >= INV_TEST_VOFA_PERIOD_MS)
    {
      INV_Measurement measurement;

      vofa_tick = HAL_GetTick();
      INV_Measure_GetSnapshot(&measurement);

      /* CH0显示50 Hz单位正弦，用来同时验证开环节拍和USART数据顺序。 */
      vofa_data[0] = inv_sine_u;

      /* CH1~CH6依次显示三个电流和三个相电压ADC原始码，便于核对Rank。 */
      vofa_data[1] = (float)measurement.iu_raw;
      vofa_data[2] = (float)measurement.iv_raw;
      vofa_data[3] = (float)measurement.iw_raw;
      vofa_data[4] = (float)measurement.vu_raw;
      vofa_data[5] = (float)measurement.vv_raw;
      vofa_data[6] = (float)measurement.vw_raw;
      vofa_data[7] = (float)measurement.fault_bits;

      if (VOFA_Send(&huart2, vofa_data, VOFA_MAX_CHANNELS) == HAL_OK)
      {
        vofa_tx_ok_count++;
      }
      else
      {
        /* 串口仅用于观测，发送失败计数但不直接触发功率故障。 */
        vofa_tx_error_count++;
      }
    }

    /*
     * 每100 ms进行一次安全监督。任一DMA、同步快照或控制入口停止推进，
     * 均立即关闭逆变输出并停止喂狗；故障锁存后禁止自动重新启动PWM。
     */
    if ((HAL_GetTick() - supervisor_tick) >= INV_TEST_SUPERVISOR_PERIOD_MS)
    {
      INV_Measurement measurement;

      supervisor_tick = HAL_GetTick();
      INV_Measure_GetSnapshot(&measurement);

      if ((measurement.adc3_sequence == last_adc3_sequence) ||
          (measurement.adc4_sequence == last_adc4_sequence) ||
          (measurement.adc5_sequence == last_adc5_sequence) ||
          (measurement.fast_heartbeat == last_fast_heartbeat) ||
          (inv_control_heartbeat == last_control_heartbeat))
      {
        INV_Measure_Trip(INV_FAULT_ADC_SYNC);
      }
      else if ((measurement.valid == 0U) ||
               (measurement.fault_bits != INV_FAULT_NONE) ||
               (HAL_GPIO_ReadPin(GPIOB, GPIO_PIN_10) == GPIO_PIN_RESET) ||
               (HAL_GPIO_ReadPin(INV_NFAULT_DIAG_GPIO_Port,
                                INV_NFAULT_DIAG_Pin) == GPIO_PIN_RESET) ||
               (HAL_GPIO_ReadPin(PFC_GATE_EN_GPIO_Port,
                                PFC_GATE_EN_Pin) != GPIO_PIN_RESET) ||
               (HAL_GPIO_ReadPin(INV_GATE_EN_GPIO_Port,
                                INV_GATE_EN_Pin) != GPIO_PIN_RESET))
      {
        INV_Measure_Trip(INV_FAULT_DRIVER);
      }
      else
      {
        /* 仅在完整安全条件成立时刷新IWDG，禁止在中断中无条件喂狗。 */
        (void)HAL_IWDG_Refresh(&hiwdg);
      }

      last_adc3_sequence = measurement.adc3_sequence;
      last_adc4_sequence = measurement.adc4_sequence;
      last_adc5_sequence = measurement.adc5_sequence;
      last_fast_heartbeat = measurement.fast_heartbeat;
      last_control_heartbeat = inv_control_heartbeat;
    }

    /*
     * 每100 ms更新一次OLED。安全监督放在本段之前执行，确保软件I2C传输
     * 不会推迟DMA失步、驱动故障或Gate Enable异常的检测与安全关断。
     */
    if ((HAL_GetTick() - oled_tick) >= INV_TEST_OLED_PERIOD_MS)
    {
      INV_Measurement measurement;

      /* 主循环偶尔延迟时不连续补刷旧帧，而是以当前时刻作为下一周期基准。 */
      oled_tick = HAL_GetTick();

      /*
       * 读取测量模块已经发布的完整六通道快照，禁止直接访问正被DMA改写的
       * INV_Adc3Dma/INV_Adc4Dma/INV_Adc5Dma数组，避免显示半更新数据。
       */
      INV_Measure_GetSnapshot(&measurement);

      /*
       * 六路ADC为12位原始码，固定显示4位十进制数；即使前导位为0，
       * 数字区域宽度也保持不变，不需要周期性OLED_Clear()。
       */
      OLED_ShowNum(1U, 4U, measurement.iu_raw, 4U);
      OLED_ShowNum(1U, 12U, measurement.vu_raw, 4U);
      OLED_ShowNum(2U, 4U, measurement.iv_raw, 4U);
      OLED_ShowNum(2U, 12U, measurement.vv_raw, 4U);
      OLED_ShowNum(3U, 4U, measurement.iw_raw, 4U);
      OLED_ShowNum(3U, 12U, measurement.vw_raw, 4U);

      /*
       * 控制心跳取模后固定为5位，便于确认10 kHz控制入口持续运行；
       * 故障位使用两位十六进制显示，正常状态为00，故障恢复后不自动清零。
       */
      OLED_ShowNum(4U, 3U, inv_control_heartbeat % 100000U, 5U);
      OLED_ShowHexNum(4U, 11U, measurement.fault_bits, 2U);
    }

  }
  /* USER CODE END 3 */
}

void SystemClock_Config(void)
{
  RCC_OscInitTypeDef RCC_OscInitStruct = {0};
  RCC_ClkInitTypeDef RCC_ClkInitStruct = {0};

  /** Configure the main internal regulator output voltage
  */
  HAL_PWREx_ControlVoltageScaling(PWR_REGULATOR_VOLTAGE_SCALE1_BOOST);

  /** Initializes the RCC Oscillators according to the specified parameters
  * in the RCC_OscInitTypeDef structure.
  */
  RCC_OscInitStruct.OscillatorType = RCC_OSCILLATORTYPE_LSI|RCC_OSCILLATORTYPE_HSE;
  RCC_OscInitStruct.HSEState = RCC_HSE_ON;
  RCC_OscInitStruct.LSIState = RCC_LSI_ON;
  RCC_OscInitStruct.PLL.PLLState = RCC_PLL_ON;
  RCC_OscInitStruct.PLL.PLLSource = RCC_PLLSOURCE_HSE;
  RCC_OscInitStruct.PLL.PLLM = RCC_PLLM_DIV2;
  RCC_OscInitStruct.PLL.PLLN = 85;
  RCC_OscInitStruct.PLL.PLLP = RCC_PLLP_DIV2;
  RCC_OscInitStruct.PLL.PLLQ = RCC_PLLQ_DIV2;
  RCC_OscInitStruct.PLL.PLLR = RCC_PLLR_DIV2;
  if (HAL_RCC_OscConfig(&RCC_OscInitStruct) != HAL_OK)
  {
    Error_Handler();
  }

  /** Initializes the CPU, AHB and APB buses clocks
  */
  RCC_ClkInitStruct.ClockType = RCC_CLOCKTYPE_HCLK|RCC_CLOCKTYPE_SYSCLK
                              |RCC_CLOCKTYPE_PCLK1|RCC_CLOCKTYPE_PCLK2;
  RCC_ClkInitStruct.SYSCLKSource = RCC_SYSCLKSOURCE_PLLCLK;
  RCC_ClkInitStruct.AHBCLKDivider = RCC_SYSCLK_DIV1;
  RCC_ClkInitStruct.APB1CLKDivider = RCC_HCLK_DIV1;
  RCC_ClkInitStruct.APB2CLKDivider = RCC_HCLK_DIV1;

  if (HAL_RCC_ClockConfig(&RCC_ClkInitStruct, FLASH_LATENCY_4) != HAL_OK)
  {
    Error_Handler();
  }

  /** Enables the Clock Security System
  */
  HAL_RCC_EnableCSS();
}

/* USER CODE BEGIN 4 */

/**
 * @brief ADC规则组DMA完整传输回调。
 * @param hadc 发生完整转换事件的ADC句柄。
 *
 * ADC3/4/5均由HRTIM Master CMP2通过HRTIM_TRG2以10 kHz触发。每个ADC
 * 分支先发布自己的DMA序列；只有三个序列全部更新后，测量模块才把
 * fast_heartbeat增加一次。随后比较心跳，保证一个PWM周期只运行一次控制。
 *
 * 该函数运行在DMA中断上下文，禁止调用阻塞式USART或HAL_Delay()。
 */
void HAL_ADC_ConvCpltCallback(ADC_HandleTypeDef *hadc)
{
  INV_Measurement measurement;
  uint8_t inverter_adc = 1U;

  if ((hadc != NULL) && (hadc->Instance == ADC3))
  {
    INV_Measure_OnAdc3Complete();
  }
  else if ((hadc != NULL) && (hadc->Instance == ADC4))
  {
    INV_Measure_OnAdc4Complete();
  }
  else if ((hadc != NULL) && (hadc->Instance == ADC5))
  {
    INV_Measure_OnAdc5Complete();
  }
  else
  {
    inverter_adc = 0U;
  }

  if (inverter_adc == 0U)
  {
    return;
  }

  INV_Measure_GetSnapshot(&measurement);

  /*
   * 标定完成且出现新的六通道同步帧时才推进开环。三个DMA回调均会经过
   * 此处，但fast_heartbeat每帧只变化一次，因此不会重复更新CBSVPWM。
   */
  if ((measurement.offset_ready != 0U) &&
      (measurement.valid != 0U) &&
      (measurement.fast_heartbeat != inv_last_control_frame))
  {
    inv_last_control_frame = measurement.fast_heartbeat;
    INV_TestOpenLoopStep();
  }
}

void HAL_ADC_ErrorCallback(ADC_HandleTypeDef *hadc)
{
  /*
   * ADC3/4/5发生Overrun、DMA或内部状态错误时统一锁存逆变ADC故障。
   * ADC1/2在本测试中没有启动，若以后启用应由各自应用模块单独处理。
   */
  if ((hadc != NULL) &&
      ((hadc->Instance == ADC3) ||
       (hadc->Instance == ADC4) ||
       (hadc->Instance == ADC5)))
  {
    INV_Measure_AdcError();
  }
}

/**
 * @brief GPIO外部中断公共回调。
 * @param GPIO_Pin 触发EXTI的GPIO引脚掩码。
 *
 * PE6是逆变驱动器nFAULT诊断信号。该回调用于记录和锁存故障；真正的快速
 * 关断应由驱动器DESAT/OCP到HRTIM Fault 3的硬件链路完成，不依赖CPU。
 */
void HAL_GPIO_EXTI_Callback(uint16_t GPIO_Pin)
{
  if (GPIO_Pin == INV_NFAULT_DIAG_Pin)
  {
    INV_Measure_Trip(INV_FAULT_DRIVER);
  }
}

void HAL_HRTIM_Fault3Callback(HRTIM_HandleTypeDef *hhrtim)
{
  /*
   * Fault 3硬件逻辑已先把HRTIM输出置为Inactive；ISR随后记录故障状态，
   * 供主循环显示和状态机处理。清除中断标志不代表允许自动恢复PWM。
   */
  (void)hhrtim;
  INV_Measure_Trip(INV_FAULT_HRTIM);
}

/* USER CODE END 4 */

void Error_Handler(void)
{
  /* USER CODE BEGIN Error_Handler_Debug */
  /*
   * 不可恢复的初始化或HAL错误统一进入安全态：先拉低两个Gate Enable，
   * 再关闭逆变HRTIM输出和C/D/E计数器。若IWDG已经启动，最终由其复位；
   * 若IWDG尚未启动，则保持在门极关闭的死循环中等待人工复位。
   */
  HAL_GPIO_WritePin(PFC_GATE_EN_GPIO_Port, PFC_GATE_EN_Pin, GPIO_PIN_RESET);
  HAL_GPIO_WritePin(INV_GATE_EN_GPIO_Port, INV_GATE_EN_Pin, GPIO_PIN_RESET);
  INV_HRTIM_StopAll();
  __disable_irq();
  while (1)
  {
  }
  /* USER CODE END Error_Handler_Debug */
}
